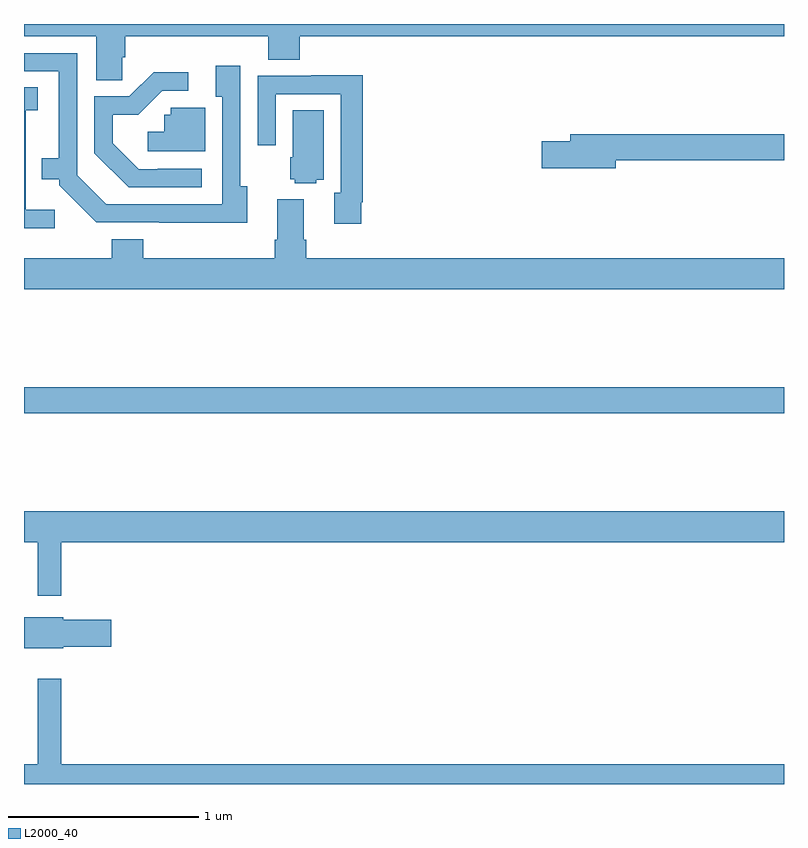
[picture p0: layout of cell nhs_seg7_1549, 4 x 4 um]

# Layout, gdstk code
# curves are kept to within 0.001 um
import gdstk
lib = gdstk.Library(unit=1e-6, precision=1e-09)
def R(c, l, rs):  # rectangles x0, y0, x1, y1
    for r in rs: c.add(gdstk.rectangle(r[:2], r[2:], *l))
def P(c, l, *ps):  # polygons
    for p in ps: c.add(gdstk.Polygon(p, *l))
L2000_40 = (2000, 40)

nhs_seg7_1549 = lib.new_cell('nhs_seg7_1549')
R(nhs_seg7_1549, L2000_40, [(217,1011.952,221,1012.088)])
P(nhs_seg7_1549, L2000_40, [(217.517,1013.826),(217.532,1013.826),(217.532,1013.936),(218.285,1013.936),(218.285,1013.812),(218.45,1013.812),(218.45,1013.936),(221,1013.936),(221,1014),(217,1014),(217,1013.936),(217.379,1013.936),(217.379,1013.704),(217.517,1013.704)],
  [(218.176,1013.146),(218.139,1013.146),(218.139,1013.779),(218.009,1013.779),(218.009,1013.618),(218.043,1013.618),(218.043,1013.052),(217.434,1013.052),(217.281,1013.205),(217.281,1013.847),(217,1013.847),(217,1013.751),(217.184,1013.751),(217.184,1013.293),(217.093,1013.293),(217.093,1013.183),(217.185,1013.183),(217.185,1013.151),(217.38,1012.956),(218.176,1012.955)],
  [(217.936,1013.238),(217.705,1013.238),(217.705,1013.235),(217.605,1013.235),(217.468,1013.372),(217.468,1013.522),(217.601,1013.522),(217.728,1013.649),(217.864,1013.649),(217.864,1013.747),(217.682,1013.747),(217.554,1013.619),(217.371,1013.619),(217.371,1013.321),(217.55,1013.142),(217.936,1013.142)],
  [(218.776,1013.062),(218.783,1013.062),(218.783,1013.731),(218.513,1013.731),(218.513,1013.727),(218.229,1013.727),(218.229,1013.361),(218.325,1013.361),(218.325,1013.631),(218.667,1013.631),(218.667,1013.111),(218.633,1013.111),(218.633,1012.95),(218.776,1012.95)],
  [(217.162,1013.023),(217.008,1013.023),(217.008,1013.545),(217.072,1013.545),(217.072,1013.666),(217,1013.666),(217,1012.925),(217.162,1012.925)],
  [(217.954,1013.559),(217.773,1013.559),(217.773,1013.523),(217.737,1013.523),(217.737,1013.434),(217.65,1013.434),(217.65,1013.331),(217.954,1013.331)],
  [(218.538,1013.18),(218.578,1013.18),(218.578,1013.546),(218.414,1013.546),(218.414,1013.298),(218.402,1013.298),(218.402,1013.184),(218.424,1013.184),(218.424,1013.162),(218.538,1013.162)],
  [(220.114,1013.284),(221,1013.284),(221,1013.42),(219.875,1013.42),(219.875,1013.384),(219.726,1013.384),(219.726,1013.242),(220.114,1013.242)],
  [(221,1012.768),(218.486,1012.768),(218.486,1012.864),(218.473,1012.864),(218.473,1013.077),(218.333,1013.077),(218.333,1012.864),(218.321,1012.864),(218.321,1012.768),(217.628,1012.768),(217.628,1012.867),(217.463,1012.867),(217.463,1012.768),(217,1012.768),(217,1012.604),(221,1012.604)],
  [(217.195,1011.272),(221,1011.272),(221,1011.436),(217,1011.436),(217,1011.272),(217.073,1011.272),(217.073,1010.991),(217.195,1010.991)],
  [(217.206,1010.723),(217.459,1010.723),(217.459,1010.865),(217.206,1010.865),(217.206,1010.878),(217,1010.878),(217,1010.714),(217.206,1010.714)],
  [(221,1010.104),(217.195,1010.104),(217.195,1010.554),(217.073,1010.554),(217.073,1010.104),(217,1010.104),(217,1010),(221,1010)])

lib.write_gds('nhs_seg7_1549.gds')
